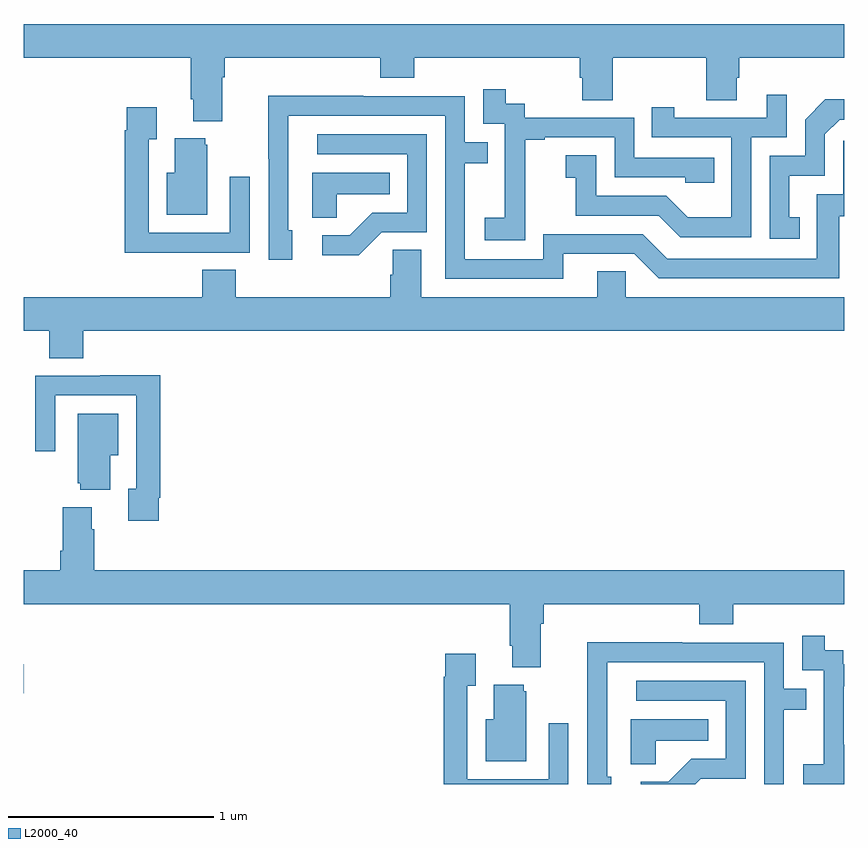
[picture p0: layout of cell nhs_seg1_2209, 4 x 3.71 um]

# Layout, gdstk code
import gdstk
lib = gdstk.Library(unit=1e-6, precision=1e-09)
def R(c, l, rs):  # rectangles x0, y0, x1, y1
    for r in rs: c.add(gdstk.rectangle(r[:2], r[2:], *l))
def P(c, l, *ps):  # polygons
    for p in ps: c.add(gdstk.Polygon(p, *l))
L2000_40 = (2000, 40)

nhs_seg1_2209 = lib.new_cell('nhs_seg1_2209')
R(nhs_seg1_2209, L2000_40, [(231,540.641,231.001,540.783)])
P(nhs_seg1_2209, L2000_40, [(231.967,543.644),(231.98,543.644),(231.98,543.74),(232.739,543.74),(232.739,543.641),(232.904,543.641),(232.904,543.74),(233.711,543.74),(233.711,543.642),(233.723,543.642),(233.723,543.532),(233.871,543.532),(233.871,543.74),(234.328,543.74),(234.328,543.532),(234.475,543.532),(234.475,543.642),(234.488,543.642),(234.488,543.74),(235,543.74),(235,543.904),(231,543.904),(231,543.74),(231.815,543.74),(231.815,543.538),(231.827,543.538),(231.827,543.431),(231.967,543.431)],
  [(233.445,543.055),(233.444,543.055),(233.444,543.339),(233.539,543.339),(233.539,543.351),(233.88,543.351),(233.88,543.156),(234.225,543.156),(234.225,543.129),(234.365,543.129),(234.365,543.252),(233.976,543.252),(233.976,543.447),(233.442,543.447),(233.442,543.516),(233.35,543.516),(233.35,543.586),(233.241,543.586),(233.241,543.417),(233.346,543.417),(233.346,543.188),(233.345,543.188),(233.345,542.959),(233.247,542.959),(233.247,542.849),(233.445,542.849)],
  [(234.546,543.351),(234.72,543.351),(234.72,543.559),(234.623,543.559),(234.623,543.447),(234.172,543.447),(234.172,543.499),(234.061,543.499),(234.061,543.351),(234.45,543.351),(234.45,542.962),(234.236,542.962),(234.132,543.066),(233.79,543.066),(233.79,543.265),(233.643,543.265),(233.643,543.155),(233.692,543.155),(233.692,542.97),(234.095,542.97),(234.2,542.865),(234.546,542.865)],
  [(233.629,542.784),(233.976,542.784),(234.096,542.664),(234.976,542.664),(234.976,542.967),(235,542.967),(235,543.334),(234.996,543.334),(234.996,543.075),(234.867,543.075),(234.867,542.76),(234.138,542.76),(234.018,542.88),(233.532,542.88),(233.532,542.757),(233.151,542.757),(233.151,543.226),(233.261,543.226),(233.261,543.327),(233.151,543.327),(233.151,543.552),(232.655,543.552),(232.655,543.554),(232.192,543.554),(232.192,543.247),(232.194,543.247),(232.194,542.754),(232.309,542.754),(232.309,542.898),(232.29,542.898),(232.29,543.456),(233.055,543.456),(233.055,542.661),(233.629,542.661)],
  [(234.782,542.961),(234.733,542.961),(234.733,543.165),(234.906,543.165),(234.906,543.366),(234.978,543.438),(235,543.438),(235,543.536),(234.908,543.536),(234.81,543.438),(234.81,543.261),(234.636,543.261),(234.636,542.856),(234.782,542.856)],
  [(231.785,542.79),(232.101,542.79),(232.101,543.16),(232.005,543.16),(232.005,542.886),(231.609,542.886),(231.609,543.343),(231.649,543.343),(231.649,543.499),(231.501,543.499),(231.501,543.386),(231.493,543.386),(231.493,542.789),(231.785,542.789)],
  [(232.746,542.889),(232.965,542.889),(232.965,543.366),(232.431,543.366),(232.431,543.27),(232.869,543.27),(232.869,542.985),(232.7,542.985),(232.589,542.874),(232.455,542.874),(232.455,542.777),(232.633,542.777)],
  [(231.895,543.315),(231.884,543.315),(231.884,543.346),(231.737,543.346),(231.737,543.178),(231.698,543.178),(231.698,542.975),(231.895,542.975)],
  [(232.527,543.074),(232.784,543.074),(232.784,543.178),(232.406,543.178),(232.406,542.959),(232.527,542.959)],
  [(231.29,542.408),(235,542.408),(235,542.572),(233.934,542.572),(233.934,542.699),(233.795,542.699),(233.795,542.572),(232.939,542.572),(232.939,542.804),(232.8,542.804),(232.8,542.681),(232.787,542.681),(232.787,542.572),(232.034,542.572),(232.034,542.705),(231.869,542.705),(231.869,542.572),(231,542.572),(231,542.408),(231.125,542.408),(231.125,542.275),(231.29,542.275)],
  [(231.658,541.594),(231.665,541.594),(231.665,542.192),(231.373,542.192),(231.373,542.19),(231.057,542.19),(231.057,541.821),(231.153,541.821),(231.153,542.094),(231.549,542.094),(231.549,541.638),(231.509,541.638),(231.509,541.482),(231.658,541.482)],
  [(231.421,541.802),(231.46,541.802),(231.46,542.005),(231.263,542.005),(231.263,541.665),(231.275,541.665),(231.275,541.634),(231.421,541.634)],
  [(233.521,540.98),(233.534,540.98),(233.534,541.076),(234.293,541.076),(234.293,540.977),(234.458,540.977),(234.458,541.076),(235,541.076),(235,541.24),(231.344,541.24),(231.344,541.442),(231.331,541.442),(231.331,541.549),(231.191,541.549),(231.191,541.336),(231.179,541.336),(231.179,541.24),(231,541.24),(231,541.076),(233.369,541.076),(233.369,540.874),(233.381,540.874),(233.381,540.767),(233.521,540.767)],
  [(234.999,540.391),(234.998,540.391),(234.998,540.675),(235,540.675),(235,540.783),(234.996,540.783),(234.996,540.852),(234.904,540.852),(234.904,540.922),(234.795,540.922),(234.795,540.753),(234.9,540.753),(234.9,540.524),(234.899,540.524),(234.899,540.295),(234.801,540.295),(234.801,540.199),(234.999,540.199)],
  [(233.863,540.234),(233.844,540.234),(233.844,540.792),(234.609,540.792),(234.609,540.199),(234.705,540.199),(234.705,540.562),(234.815,540.562),(234.815,540.663),(234.705,540.663),(234.705,540.888),(234.209,540.888),(234.209,540.89),(233.746,540.89),(233.746,540.583),(233.748,540.583),(233.748,540.199),(233.863,540.199)],
  [(233.655,540.496),(233.559,540.496),(233.559,540.222),(233.163,540.222),(233.163,540.679),(233.203,540.679),(233.203,540.835),(233.055,540.835),(233.055,540.722),(233.047,540.722),(233.047,540.199),(233.655,540.199)],
  [(234.3,540.225),(234.519,540.225),(234.519,540.702),(233.985,540.702),(233.985,540.606),(234.423,540.606),(234.423,540.321),(234.254,540.321),(234.143,540.21),(234.009,540.21),(234.009,540.199),(234.274,540.199)],
  [(233.449,540.651),(233.438,540.651),(233.438,540.682),(233.291,540.682),(233.291,540.514),(233.252,540.514),(233.252,540.311),(233.449,540.311)],
  [(234.081,540.41),(234.338,540.41),(234.338,540.514),(233.96,540.514),(233.96,540.295),(234.081,540.295)])

lib.write_gds('nhs_seg1_2209.gds')
